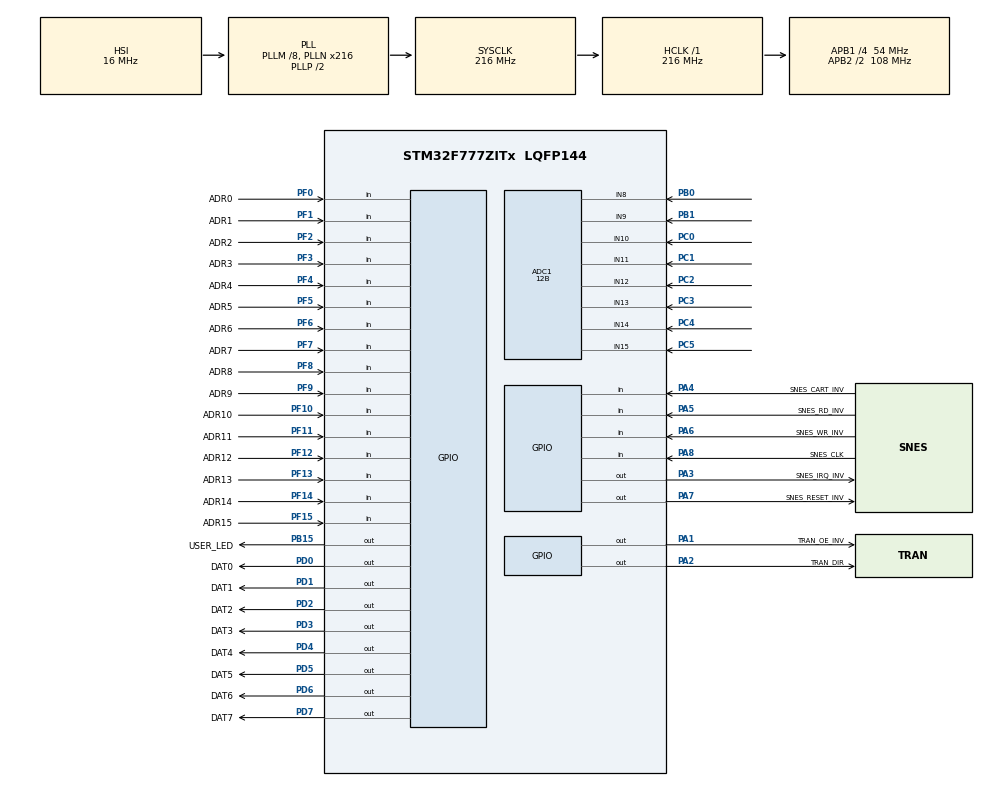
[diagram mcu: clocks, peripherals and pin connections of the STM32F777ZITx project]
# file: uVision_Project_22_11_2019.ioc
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ADC1.Channel-0\#ChannelRegularConversion=ADC_CHANNEL_8
ADC1.Channel-1\#ChannelRegularConversion=ADC_CHANNEL_9
ADC1.Channel-2\#ChannelRegularConversion=ADC_CHANNEL_10
ADC1.Channel-3\#ChannelRegularConversion=ADC_CHANNEL_11
ADC1.Channel-4\#ChannelRegularConversion=ADC_CHANNEL_12
ADC1.Channel-5\#ChannelRegularConversion=ADC_CHANNEL_13
ADC1.Channel-6\#ChannelRegularConversion=ADC_CHANNEL_14
ADC1.Channel-7\#ChannelRegularConversion=ADC_CHANNEL_15
ADC1.ClockPrescaler=ADC_CLOCK_SYNC_PCLK_DIV4
ADC1.ContinuousConvMode=ENABLE
ADC1.DMAContinuousRequests=ENABLE
ADC1.DataAlign=ADC_DATAALIGN_RIGHT
ADC1.DiscontinuousConvMode=DISABLE
ADC1.EOCSelection=ADC_EOC_SINGLE_CONV
ADC1.EnableAnalogWatchDog=false
ADC1.ExternalTrigConv=ADC_SOFTWARE_START
ADC1.ExternalTrigConvEdge=ADC_EXTERNALTRIGCONVEDGE_NONE
ADC1.InjNumberOfConversion=0
ADC1.NbrOfConversion=8
ADC1.NbrOfConversionFlag=1
ADC1.Rank-0\#ChannelRegularConversion=1
ADC1.Rank-1\#ChannelRegularConversion=2
ADC1.Rank-2\#ChannelRegularConversion=3
ADC1.Rank-3\#ChannelRegularConversion=4
ADC1.Rank-4\#ChannelRegularConversion=5
ADC1.Rank-5\#ChannelRegularConversion=6
ADC1.Rank-6\#ChannelRegularConversion=7
ADC1.Rank-7\#ChannelRegularConversion=8
ADC1.Resolution=ADC_RESOLUTION_12B
ADC1.SamplingTime-0\#ChannelRegularConversion=ADC_SAMPLETIME_3CYCLES
ADC1.SamplingTime-1\#ChannelRegularConversion=ADC_SAMPLETIME_3CYCLES
ADC1.SamplingTime-2\#ChannelRegularConversion=ADC_SAMPLETIME_3CYCLES
ADC1.SamplingTime-3\#ChannelRegularConversion=ADC_SAMPLETIME_3CYCLES
ADC1.SamplingTime-4\#ChannelRegularConversion=ADC_SAMPLETIME_3CYCLES
ADC1.SamplingTime-5\#ChannelRegularConversion=ADC_SAMPLETIME_3CYCLES
ADC1.SamplingTime-6\#ChannelRegularConversion=ADC_SAMPLETIME_3CYCLES
ADC1.SamplingTime-7\#ChannelRegularConversion=ADC_SAMPLETIME_3CYCLES
ADC1.ScanConvMode=ADC_SCAN_ENABLE
ADC1.master=1
CORTEX_M7.CPU_DCache=Enabled
CORTEX_M7.CPU_ICache=Enabled
CORTEX_M7.FlashInterface=TCM_Enabled
Dma.ADC1.0.Direction=DMA_PERIPH_TO_MEMORY
Dma.ADC1.0.FIFOMode=DMA_FIFOMODE_DISABLE
Dma.ADC1.0.Instance=DMA2_Stream0
Dma.ADC1.0.MemDataAlignment=DMA_MDATAALIGN_WORD
Dma.ADC1.0.MemInc=DMA_MINC_ENABLE
Dma.ADC1.0.Mode=DMA_CIRCULAR
Dma.ADC1.0.PeriphDataAlignment=DMA_PDATAALIGN_WORD
Dma.ADC1.0.PeriphInc=DMA_PINC_DISABLE
Dma.ADC1.0.Priority=DMA_PRIORITY_LOW
Dma.Request0=ADC1
Mcu.Family=STM32F7
Mcu.Name=STM32F777ZITx
Mcu.Package=LQFP144
NVIC.DMA2_Stream0_IRQn=true\:0\:0\:false\:false\:true\:false
NVIC.PriorityGroup=NVIC_PRIORITYGROUP_4
PA1.GPIO_Label=TRAN_OE_INV
PA1.GPIO_Speed=GPIO_SPEED_FREQ_VERY_HIGH
PA1.PinState=GPIO_PIN_SET
PA1.Signal=GPIO_Output
PA13.Mode=Serial_Wire
PA13.Signal=SYS_JTMS-SWDIO
PA14.Mode=Serial_Wire
PA14.Signal=SYS_JTCK-SWCLK
PA2.GPIO_Label=TRAN_DIR
PA2.GPIO_Speed=GPIO_SPEED_FREQ_VERY_HIGH
PA2.PinState=GPIO_PIN_SET
PA2.Signal=GPIO_Output
PA3.GPIO_Label=SNES_IRQ_INV
PA3.GPIO_Speed=GPIO_SPEED_FREQ_VERY_HIGH
PA3.PinState=GPIO_PIN_SET
PA3.Signal=GPIO_Output
PA4.GPIO_Label=SNES_CART_INV
PA4.Signal=GPIO_Input
PA5.GPIO_Label=SNES_RD_INV
PA5.Signal=GPIO_Input
PA6.GPIO_Label=SNES_WR_INV
PA6.Signal=GPIO_Input
PA7.GPIO_Label=SNES_RESET_INV
PA7.GPIO_ModeDefaultOutputPP=GPIO_MODE_OUTPUT_PP
PA7.GPIO_PuPd=GPIO_PULLDOWN
PA7.GPIO_Speed=GPIO_SPEED_FREQ_VERY_HIGH
PA7.PinState=GPIO_PIN_SET
PA7.Signal=GPIO_Output
PA8.GPIO_Label=SNES_CLK
PA8.Signal=GPIO_Input
PB0.Signal=ADCx_IN8
PB1.Signal=ADCx_IN9
PB15.GPIO_Label=USER_LED
PB15.GPIO_Speed=GPIO_SPEED_FREQ_VERY_HIGH
PB15.PinState=GPIO_PIN_SET
PB15.Signal=GPIO_Output
PC0.Signal=ADCx_IN10
PC1.Signal=ADCx_IN11
PC2.Signal=ADCx_IN12
PC3.Signal=ADCx_IN13
PC4.Signal=ADCx_IN14
PC5.Signal=ADCx_IN15
PD0.GPIO_Label=DAT0
PD0.GPIO_PuPd=GPIO_PULLUP
PD0.GPIO_Speed=GPIO_SPEED_FREQ_VERY_HIGH
PD0.PinState=GPIO_PIN_SET
PD0.Signal=GPIO_Output
PD1.GPIO_Label=DAT1
PD1.GPIO_PuPd=GPIO_PULLUP
PD1.GPIO_Speed=GPIO_SPEED_FREQ_VERY_HIGH
PD1.PinState=GPIO_PIN_SET
PD1.Signal=GPIO_Output
PD2.GPIO_Label=DAT2
PD2.GPIO_PuPd=GPIO_PULLUP
PD2.GPIO_Speed=GPIO_SPEED_FREQ_VERY_HIGH
PD2.PinState=GPIO_PIN_SET
PD2.Signal=GPIO_Output
PD3.GPIO_Label=DAT3
PD3.GPIO_PuPd=GPIO_PULLUP
PD3.GPIO_Speed=GPIO_SPEED_FREQ_VERY_HIGH
PD3.PinState=GPIO_PIN_SET
PD3.Signal=GPIO_Output
PD4.GPIO_Label=DAT4
PD4.GPIO_PuPd=GPIO_PULLUP
PD4.GPIO_Speed=GPIO_SPEED_FREQ_VERY_HIGH
PD4.PinState=GPIO_PIN_SET
PD4.Signal=GPIO_Output
PD5.GPIO_Label=DAT5
PD5.GPIO_PuPd=GPIO_PULLUP
PD5.GPIO_Speed=GPIO_SPEED_FREQ_VERY_HIGH
PD5.PinState=GPIO_PIN_SET
PD5.Signal=GPIO_Output
PD6.GPIO_Label=DAT6
PD6.GPIO_PuPd=GPIO_PULLUP
PD6.GPIO_Speed=GPIO_SPEED_FREQ_VERY_HIGH
PD6.PinState=GPIO_PIN_SET
PD6.Signal=GPIO_Output
PD7.GPIO_Label=DAT7
PD7.GPIO_PuPd=GPIO_PULLUP
PD7.GPIO_Speed=GPIO_SPEED_FREQ_VERY_HIGH
PD7.PinState=GPIO_PIN_SET
PD7.Signal=GPIO_Output
PF0.GPIO_Label=ADR0
PF0.Signal=GPIO_Input
PF1.GPIO_Label=ADR1
PF1.Signal=GPIO_Input
PF10.GPIO_Label=ADR10
PF10.Signal=GPIO_Input
PF11.GPIO_Label=ADR11
PF11.Signal=GPIO_Input
PF12.GPIO_Label=ADR12
PF12.Signal=GPIO_Input
PF13.GPIO_Label=ADR13
PF13.Signal=GPIO_Input
PF14.GPIO_Label=ADR14
PF14.Signal=GPIO_Input
PF15.GPIO_Label=ADR15
PF15.Signal=GPIO_Input
PF2.GPIO_Label=ADR2
PF2.Signal=GPIO_Input
PF3.GPIO_Label=ADR3
PF3.Signal=GPIO_Input
PF4.GPIO_Label=ADR4
PF4.Signal=GPIO_Input
PF5.GPIO_Label=ADR5
PF5.Signal=GPIO_Input
PF6.GPIO_Label=ADR6
PF6.Signal=GPIO_Input
PF7.GPIO_Label=ADR7
PF7.Signal=GPIO_Input
PF8.GPIO_Label=ADR8
PF8.Signal=GPIO_Input
PF9.GPIO_Label=ADR9
PF9.Signal=GPIO_Input
ProjectManager.HeapSize=0x200
ProjectManager.StackSize=0x400
ProjectManager.TargetToolchain=MDK-ARM V5
RCC.AHBFreq_Value=216000000
RCC.APB1CLKDivider=RCC_HCLK_DIV4
RCC.APB1Freq_Value=54000000
RCC.APB1TimFreq_Value=108000000
RCC.APB2CLKDivider=RCC_HCLK_DIV2
RCC.APB2Freq_Value=108000000
RCC.APB2TimFreq_Value=216000000
RCC.CortexFreq_Value=216000000
RCC.HCLKFreq_Value=216000000
RCC.HSE_VALUE=25000000
RCC.HSI_VALUE=16000000
RCC.LSE_VALUE=32768
RCC.PLLM=8
RCC.PLLN=216
RCC.SYSCLKFreq_VALUE=216000000
RCC.SYSCLKSource=RCC_SYSCLKSOURCE_PLLCLK
RCC.USBFreq_Value=216000000
RCC.VCOOutputFreq_Value=432000000
SH.ADCx_IN10.0=ADC1_IN10,IN10
SH.ADCx_IN11.0=ADC1_IN11,IN11
SH.ADCx_IN12.0=ADC1_IN12,IN12
SH.ADCx_IN13.0=ADC1_IN13,IN13
SH.ADCx_IN14.0=ADC1_IN14,IN14
SH.ADCx_IN15.0=ADC1_IN15,IN15
SH.ADCx_IN8.0=ADC1_IN8,IN8
SH.ADCx_IN9.0=ADC1_IN9,IN9
board=custom

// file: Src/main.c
/**
  ******************************************************************************
  * @file           : main.c
  * @brief          : Main program body
  ******************************************************************************
  ** This notice applies to any and all portions of this file
  * that are not between comment pairs USER CODE BEGIN and
  * USER CODE END. Other portions of this file, whether
  * inserted by the user or by software development tools
  * are owned by their respective copyright owners.
  *
  * COPYRIGHT(c) 2019 STMicroelectronics
  *
  * Redistribution and use in source and binary forms, with or without modification,
  * are permitted provided that the following conditions are met:
  *   1. Redistributions of source code must retain the above copyright notice,
  *      this list of conditions and the following disclaimer.
  *   2. Redistributions in binary form must reproduce the above copyright notice,
  *      this list of conditions and the following disclaimer in the documentation
  *      and/or other materials provided with the distribution.
  *   3. Neither the name of STMicroelectronics nor the names of its contributors
  *      may be used to endorse or promote products derived from this software
  *      without specific prior written permission.
  *
  * THIS SOFTWARE IS PROVIDED BY THE COPYRIGHT HOLDERS AND CONTRIBUTORS "AS IS"
  * AND ANY EXPRESS OR IMPLIED WARRANTIES, INCLUDING, BUT NOT LIMITED TO, THE
  * IMPLIED WARRANTIES OF MERCHANTABILITY AND FITNESS FOR A PARTICULAR PURPOSE ARE
  * DISCLAIMED. IN NO EVENT SHALL THE COPYRIGHT HOLDER OR CONTRIBUTORS BE LIABLE
  * FOR ANY DIRECT, INDIRECT, INCIDENTAL, SPECIAL, EXEMPLARY, OR CONSEQUENTIAL
  * DAMAGES (INCLUDING, BUT NOT LIMITED TO, PROCUREMENT OF SUBSTITUTE GOODS OR
  * SERVICES; LOSS OF USE, DATA, OR PROFITS; OR BUSINESS INTERRUPTION) HOWEVER
  * CAUSED AND ON ANY THEORY OF LIABILITY, WHETHER IN CONTRACT, STRICT LIABILITY,
  * OR TORT (INCLUDING NEGLIGENCE OR OTHERWISE) ARISING IN ANY WAY OUT OF THE USE
  * OF THIS SOFTWARE, EVEN IF ADVISED OF THE POSSIBILITY OF SUCH DAMAGE.
  *
  ******************************************************************************
  */
#include "main.h"
#include "stm32f7xx_hal.h"
#include "rom_bank_0.h"

/* USER CODE BEGIN Includes */

#define SNES_IRQ_OFF 0xFFFF0008U
#define MISC_PORT_REG_WR GPIOA->BSRR
#define TRANS_SNES_2_CART 0xFFFF000CU
#define SNES_CART_OFF 0xFFFF0010U

#define MISC_PORT_REG_WR GPIOA->BSRR
#define MISC_PORT_REG_RD GPIOA->IDR
#define ADDR_PORT_REG_RD GPIOF->IDR
#define DATA_PORT_REG_WR GPIOD->BSRR

#define RST_VEC_LOC_LO 0x0000FFFCU
#define RST_VEC_LOC_HI 0x0000FFFDU
#define RST_VEC_BYT_LO 0xFFFF0000U
#define RST_VEC_BYT_HI 0xFFFF0088U
#define NMI_VEC_LOC_LO 0x0000FFEAU
#define NMI_VEC_LOC_HI 0x0000FFEBU
#define NMI_VEC_BYT_LO 0xFFFF0000U
#define NMI_VEC_BYT_HI 0xFFFF001EU

/* USER CODE END Includes */

ADC_HandleTypeDef hadc1;
DMA_HandleTypeDef hdma_adc1;

/* USER CODE BEGIN PV */
/* Private variables ---------------------------------------------------------*/

/* USER CODE END PV */

void SystemClock_Config(void);
static void MX_GPIO_Init(void);
static void MX_DMA_Init(void);
static void MX_ADC1_Init(void);

/* USER CODE BEGIN PFP */
/* Private function prototypes -----------------------------------------------*/
uint16_t temp = 0;
//uint16_t adc_temp = 0;
volatile uint32_t adc_32[8];
volatile uint32_t adc_32_buf[8];

#define SMOOTHVALS 16
#define SMOOTHSHIFTS 4
volatile uint8_t iSmoothingPointer = 0;
volatile uint8_t iSmoothingNextPointer = 1;
volatile uint32_t iSmoothingSum[8];
volatile uint32_t iSmoothingSumLastAdd[SMOOTHVALS][8];

/* USER CODE END PFP */

/* USER CODE BEGIN 0 */
void HAL_ADC_ConvCpltCallback(ADC_HandleTypeDef* hadc)
{
	if(hadc->Instance == ADC1)
	{
		adc_32_buf[0] = (~adc_32[0]) & 0x03FFU;
		iSmoothingSumLastAdd[iSmoothingPointer][0] = adc_32_buf[0];
		iSmoothingSum[0] = iSmoothingSum[0] - iSmoothingSumLastAdd[iSmoothingNextPointer][0];
		iSmoothingSum[0] = iSmoothingSum[0] + iSmoothingSumLastAdd[iSmoothingPointer][0];
		adc_32_buf[0] = iSmoothingSum[0] >> SMOOTHSHIFTS;

		adc_32_buf[1] = (~adc_32[1]) & 0x03FFU;
		iSmoothingSumLastAdd[iSmoothingPointer][1] = adc_32_buf[1];
		iSmoothingSum[1] = iSmoothingSum[1] - iSmoothingSumLastAdd[iSmoothingNextPointer][1];
		iSmoothingSum[1] = iSmoothingSum[1] + iSmoothingSumLastAdd[iSmoothingPointer][1];
		adc_32_buf[1] = iSmoothingSum[1] >> SMOOTHSHIFTS;

		adc_32_buf[2] = (~adc_32[2]) & 0x03FFU;
		iSmoothingSumLastAdd[iSmoothingPointer][2] = adc_32_buf[2];
		iSmoothingSum[2] = iSmoothingSum[2] - iSmoothingSumLastAdd[iSmoothingNextPointer][2];
		iSmoothingSum[2] = iSmoothingSum[2] + iSmoothingSumLastAdd[iSmoothingPointer][2];
		adc_32_buf[2] = iSmoothingSum[2] >> SMOOTHSHIFTS;

		adc_32_buf[3] = (~adc_32[3]) & 0x03FFU;
		iSmoothingSumLastAdd[iSmoothingPointer][3] = adc_32_buf[3];
		iSmoothingSum[3] = iSmoothingSum[3] - iSmoothingSumLastAdd[iSmoothingNextPointer][3];
		iSmoothingSum[3] = iSmoothingSum[3] + iSmoothingSumLastAdd[iSmoothingPointer][3];
		adc_32_buf[3] = iSmoothingSum[3] >> SMOOTHSHIFTS;

		adc_32_buf[4] = (~adc_32[4]) & 0x03FFU;
		iSmoothingSumLastAdd[iSmoothingPointer][4] = adc_32_buf[4];
		iSmoothingSum[4] = iSmoothingSum[4] - iSmoothingSumLastAdd[iSmoothingNextPointer][4];
		iSmoothingSum[4] = iSmoothingSum[4] + iSmoothingSumLastAdd[iSmoothingPointer][4];
		adc_32_buf[4] = iSmoothingSum[4] >> SMOOTHSHIFTS;

		adc_32_buf[5] = (~adc_32[5]) & 0x03FFU;
		iSmoothingSumLastAdd[iSmoothingPointer][5] = adc_32_buf[5];
		iSmoothingSum[5] = iSmoothingSum[5] - iSmoothingSumLastAdd[iSmoothingNextPointer][5];
		iSmoothingSum[5] = iSmoothingSum[5] + iSmoothingSumLastAdd[iSmoothingPointer][5];
		adc_32_buf[5] = iSmoothingSum[5] >> SMOOTHSHIFTS;

		adc_32_buf[6] = (~adc_32[6]) & 0x03FFU;
		iSmoothingSumLastAdd[iSmoothingPointer][6] = adc_32_buf[6];
		iSmoothingSum[6] = iSmoothingSum[6] - iSmoothingSumLastAdd[iSmoothingNextPointer][6];
		iSmoothingSum[6] = iSmoothingSum[6] + iSmoothingSumLastAdd[iSmoothingPointer][6];
		adc_32_buf[6] = iSmoothingSum[6] >> SMOOTHSHIFTS;

		adc_32_buf[7] = (~adc_32[7]) & 0x03FFU;
		iSmoothingSumLastAdd[iSmoothingPointer][7] = adc_32_buf[7];
		iSmoothingSum[7] = iSmoothingSum[7] - iSmoothingSumLastAdd[iSmoothingNextPointer][7];
		iSmoothingSum[7] = iSmoothingSum[7] + iSmoothingSumLastAdd[iSmoothingPointer][7];
		adc_32_buf[7] = iSmoothingSum[7] >> SMOOTHSHIFTS;

		iSmoothingPointer++;
		if(iSmoothingPointer >= SMOOTHVALS)
		{
			iSmoothingPointer = 0;
		}

		iSmoothingNextPointer++;
		if(iSmoothingNextPointer >= SMOOTHVALS)
		{
			iSmoothingNextPointer = 0;
		}
	}
}

/* USER CODE END 0 */

int main(void)
{
  /* USER CODE BEGIN 1 */
	__disable_irq();
	int i = 0;

  /* USER CODE END 1 */

  /* Enable I-Cache-------------------------------------------------------------*/
  SCB_EnableICache();

  /* Enable D-Cache-------------------------------------------------------------*/
  SCB_EnableDCache();

  /* MCU Configuration----------------------------------------------------------*/

  /* Reset of all peripherals, Initializes the Flash interface and the Systick. */
  HAL_Init();

  /* Configure the system clock */
  SystemClock_Config();

  /* USER CODE BEGIN SysInit */
	for(i = 0; i < 8; i++)
	{
		while(iSmoothingPointer < SMOOTHVALS)
		{
			iSmoothingSumLastAdd[iSmoothingPointer][i] = 0;
			iSmoothingPointer++;
		}
		iSmoothingPointer = 0;
	}
	iSmoothingPointer = 0;

  /* USER CODE END SysInit */

  /* Initialize all configured peripherals */
  MX_GPIO_Init();
  MX_DMA_Init();
  MX_ADC1_Init();
  /* USER CODE BEGIN 2 */

	HAL_ADC_Start_DMA(&hadc1,adc_32,8);

	IWDG->KR = ((uint16_t)0xAAAA);  // Disable WDG
	GPIOA->BSRR = 0xFFFF0008U;      // Hold SNES with RESET LOW; Disable Interrupt Request Line; Transceiver CART to SNES
	GPIOD->BSRR = 0xFFFF0000U;      // Reset Data Lines
	//__enable_irq();

	// Release the SNES
	/*Configure Reset Pin to Floating Input */
	GPIO_InitTypeDef GPIO_InitStruct;
  GPIO_InitStruct.Pin = SNES_RESET_INV_Pin;
  GPIO_InitStruct.Mode = GPIO_MODE_INPUT;
  GPIO_InitStruct.Pull = GPIO_NOPULL;
  HAL_GPIO_Init(GPIOA, &GPIO_InitStruct);

	while(GPIOF->IDR != RST_VEC_LOC_LO){}
  DATA_PORT_REG_WR = RST_VEC_BYT_LO;
  while(GPIOF->IDR != RST_VEC_LOC_HI){}
  DATA_PORT_REG_WR = RST_VEC_BYT_HI;

  /* USER CODE END 2 */

  /* Infinite loop */
    while (1)
  {

  /* USER CODE BEGIN 3 */

		if((MISC_PORT_REG_RD & SNES_CART_OFF))
    {
      MISC_PORT_REG_WR = TRANS_SNES_2_CART; // TRANSCEIVER SNES TO CART
      while(MISC_PORT_REG_RD & SNES_CART_OFF){}
      MISC_PORT_REG_WR = SNES_IRQ_OFF; // TRANSCEIVER CART TO SNES
    }
		else
		{
		  //MISC_PORT_REG_WR = SNES_IRQ_OFF; // TRANSCEIVER CART TO SNES
			temp = (ADDR_PORT_REG_RD & 0x00007FFFU);

			if(temp < 0x4FFFU)
			{
				DATA_PORT_REG_WR = (0xFFFF0000 | rom_bank_0[temp]);
			}
			else
			{
				if(temp == 0x7FEAU)
					DATA_PORT_REG_WR = (0xFFFF0000 | rom_bank_0[0x4FEAU]);

				if(temp == 0x7FEBU)
				{
					DATA_PORT_REG_WR = (0xFFFF0000 | rom_bank_0[0x4FEBU]);
					while(!(MISC_PORT_REG_RD & SNES_CART_OFF)){}
					MISC_PORT_REG_WR = TRANS_SNES_2_CART; // TRANSCEIVER SNES TO CART

					__enable_irq();

						/* Pitch 1: 0x4405 0x4404 */
					rom_bank_0[17413] = (uint8_t)(adc_32_buf[4] >> 8);
					rom_bank_0[17412] = (uint8_t)(adc_32_buf[4] & 0xFF);

					/* Pitch 2: 0x4410 0x440F */
					rom_bank_0[17424] = (uint8_t)(adc_32_buf[3] >> 8);
					rom_bank_0[17423] = (uint8_t)(adc_32_buf[3] & 0xFF);

					/* Pitch 3: 0x441B 0x441A */
					rom_bank_0[17435] = (uint8_t)(adc_32_buf[2] >> 8);
					rom_bank_0[17434] = (uint8_t)(adc_32_buf[2] & 0xFF);

					/* Pitch 4: 0x4426 0x4425 */
					rom_bank_0[17446] = (uint8_t)(adc_32_buf[1] >> 8);
					rom_bank_0[17445] = (uint8_t)(adc_32_buf[1] & 0xFF);

					/* Volume 1: 0x4402 (0x4403) */
					rom_bank_0[0x4402] = (uint8_t)(adc_32_buf[5] >> 3) | 0x0FU;
					rom_bank_0[0x4403] = (uint8_t)(adc_32_buf[5] >> 3) | 0x0FU;

					/* Volume 2: 0x440D (0x440E) */
					rom_bank_0[0x440D] = (uint8_t)(adc_32_buf[6] >> 3) | 0x0FU;
					rom_bank_0[0x440E] = (uint8_t)(adc_32_buf[6] >> 3) | 0x0FU;

					/* Volume 3: 0x4418 (0x4419) */
					rom_bank_0[0x4418] = (uint8_t)(adc_32_buf[0] >> 3) | 0x0FU;
					rom_bank_0[0x4419] = (uint8_t)(adc_32_buf[0] >> 3) | 0x0FU;

					/* Volume 4: 0x4423 (0x4424) */
					rom_bank_0[0x4423] = (uint8_t)(adc_32_buf[7] >> 3) | 0x0FU;
					rom_bank_0[0x4424] = (uint8_t)(adc_32_buf[7] >> 3) | 0x0FU;

					__disable_irq();

					while(MISC_PORT_REG_RD & SNES_CART_OFF){}
					MISC_PORT_REG_WR = SNES_IRQ_OFF; // TRANSCEIVER CART TO SNES

				}
			}
		}
  }
  /* USER CODE END 3 */

}

void SystemClock_Config(void)
{

  RCC_OscInitTypeDef RCC_OscInitStruct;
  RCC_ClkInitTypeDef RCC_ClkInitStruct;

    /**Configure the main internal regulator output voltage
    */
  __HAL_RCC_PWR_CLK_ENABLE();

  __HAL_PWR_VOLTAGESCALING_CONFIG(PWR_REGULATOR_VOLTAGE_SCALE1);

    /**Initializes the CPU, AHB and APB busses clocks
    */
  RCC_OscInitStruct.OscillatorType = RCC_OSCILLATORTYPE_HSI;
  RCC_OscInitStruct.HSIState = RCC_HSI_ON;
  RCC_OscInitStruct.HSICalibrationValue = 16;
  RCC_OscInitStruct.PLL.PLLState = RCC_PLL_ON;
  RCC_OscInitStruct.PLL.PLLSource = RCC_PLLSOURCE_HSI;
  RCC_OscInitStruct.PLL.PLLM = 8;
  RCC_OscInitStruct.PLL.PLLN = 216;
  RCC_OscInitStruct.PLL.PLLP = RCC_PLLP_DIV2;
  RCC_OscInitStruct.PLL.PLLQ = 2;
  if (HAL_RCC_OscConfig(&RCC_OscInitStruct) != HAL_OK)
  {
    _Error_Handler(__FILE__, __LINE__);
  }

    /**Activate the Over-Drive mode
    */
  if (HAL_PWREx_EnableOverDrive() != HAL_OK)
  {
    _Error_Handler(__FILE__, __LINE__);
  }

    /**Initializes the CPU, AHB and APB busses clocks
    */
  RCC_ClkInitStruct.ClockType = RCC_CLOCKTYPE_HCLK|RCC_CLOCKTYPE_SYSCLK
                              |RCC_CLOCKTYPE_PCLK1|RCC_CLOCKTYPE_PCLK2;
  RCC_ClkInitStruct.SYSCLKSource = RCC_SYSCLKSOURCE_PLLCLK;
  RCC_ClkInitStruct.AHBCLKDivider = RCC_SYSCLK_DIV1;
  RCC_ClkInitStruct.APB1CLKDivider = RCC_HCLK_DIV4;
  RCC_ClkInitStruct.APB2CLKDivider = RCC_HCLK_DIV2;

  if (HAL_RCC_ClockConfig(&RCC_ClkInitStruct, FLASH_LATENCY_7) != HAL_OK)
  {
    _Error_Handler(__FILE__, __LINE__);
  }

    /**Configure the Systick interrupt time
    */
  HAL_SYSTICK_Config(HAL_RCC_GetHCLKFreq()/1000);

    /**Configure the Systick
    */
  HAL_SYSTICK_CLKSourceConfig(SYSTICK_CLKSOURCE_HCLK);

  /* SysTick_IRQn interrupt configuration */
  HAL_NVIC_SetPriority(SysTick_IRQn, 1, 0);
}

/* ADC1 init function */
static void MX_ADC1_Init(void)
{

  ADC_ChannelConfTypeDef sConfig;

    /**Configure the global features of the ADC (Clock, Resolution, Data Alignment and number of conversion)
    */
  hadc1.Instance = ADC1;
  hadc1.Init.ClockPrescaler = ADC_CLOCK_SYNC_PCLK_DIV4;
  hadc1.Init.Resolution = ADC_RESOLUTION_10B;
  hadc1.Init.ScanConvMode = ADC_SCAN_ENABLE;
  hadc1.Init.ContinuousConvMode = ENABLE;
  hadc1.Init.DiscontinuousConvMode = DISABLE;
  hadc1.Init.ExternalTrigConvEdge = ADC_EXTERNALTRIGCONVEDGE_NONE;
  hadc1.Init.ExternalTrigConv = ADC_SOFTWARE_START;
  hadc1.Init.DataAlign = ADC_DATAALIGN_RIGHT;
  hadc1.Init.NbrOfConversion = 8;
  hadc1.Init.DMAContinuousRequests = ENABLE;
  hadc1.Init.EOCSelection = ADC_EOC_SEQ_CONV;
  if (HAL_ADC_Init(&hadc1) != HAL_OK)
  {
    _Error_Handler(__FILE__, __LINE__);
  }

    /**Configure for the selected ADC regular channel its corresponding rank in the sequencer and its sample time.
    */
  sConfig.Channel = ADC_CHANNEL_8;
  sConfig.Rank = ADC_REGULAR_RANK_1;
  sConfig.SamplingTime = ADC_SAMPLETIME_480CYCLES;
  if (HAL_ADC_ConfigChannel(&hadc1, &sConfig) != HAL_OK)
  {
    _Error_Handler(__FILE__, __LINE__);
  }

    /**Configure for the selected ADC regular channel its corresponding rank in the sequencer and its sample time.
    */
  sConfig.Channel = ADC_CHANNEL_9;
  sConfig.Rank = ADC_REGULAR_RANK_2;
  if (HAL_ADC_ConfigChannel(&hadc1, &sConfig) != HAL_OK)
  {
    _Error_Handler(__FILE__, __LINE__);
  }

    /**Configure for the selected ADC regular channel its corresponding rank in the sequencer and its sample time.
    */
  sConfig.Channel = ADC_CHANNEL_10;
  sConfig.Rank = ADC_REGULAR_RANK_3;
  if (HAL_ADC_ConfigChannel(&hadc1, &sConfig) != HAL_OK)
  {
    _Error_Handler(__FILE__, __LINE__);
  }

    /**Configure for the selected ADC regular channel its corresponding rank in the sequencer and its sample time.
    */
  sConfig.Channel = ADC_CHANNEL_11;
  sConfig.Rank = ADC_REGULAR_RANK_4;
  if (HAL_ADC_ConfigChannel(&hadc1, &sConfig) != HAL_OK)
  {
    _Error_Handler(__FILE__, __LINE__);
  }

    /**Configure for the selected ADC regular channel its corresponding rank in the sequencer and its sample time.
    */
  sConfig.Channel = ADC_CHANNEL_12;
  sConfig.Rank = ADC_REGULAR_RANK_5;
  if (HAL_ADC_ConfigChannel(&hadc1, &sConfig) != HAL_OK)
  {
    _Error_Handler(__FILE__, __LINE__);
  }

    /**Configure for the selected ADC regular channel its corresponding rank in the sequencer and its sample time.
    */
  sConfig.Channel = ADC_CHANNEL_13;
  sConfig.Rank = ADC_REGULAR_RANK_6;
  if (HAL_ADC_ConfigChannel(&hadc1, &sConfig) != HAL_OK)
  {
    _Error_Handler(__FILE__, __LINE__);
  }

    /**Configure for the selected ADC regular channel its corresponding rank in the sequencer and its sample time.
    */
  sConfig.Channel = ADC_CHANNEL_14;
  sConfig.Rank = ADC_REGULAR_RANK_7;
  if (HAL_ADC_ConfigChannel(&hadc1, &sConfig) != HAL_OK)
  {
    _Error_Handler(__FILE__, __LINE__);
  }

    /**Configure for the selected ADC regular channel its corresponding rank in the sequencer and its sample time.
    */
  sConfig.Channel = ADC_CHANNEL_15;
  sConfig.Rank = ADC_REGULAR_RANK_8;
  if (HAL_ADC_ConfigChannel(&hadc1, &sConfig) != HAL_OK)
  {
    _Error_Handler(__FILE__, __LINE__);
  }

}

static void MX_DMA_Init(void)
{
  /* DMA controller clock enable */
  __HAL_RCC_DMA2_CLK_ENABLE();

  /* DMA interrupt init */
  /* DMA2_Stream0_IRQn interrupt configuration */
  HAL_NVIC_SetPriority(DMA2_Stream0_IRQn, 0, 0);
  HAL_NVIC_EnableIRQ(DMA2_Stream0_IRQn);

}

/** Configure pins as
        * Analog
        * Input
        * Output
        * EVENT_OUT
        * EXTI
*/
static void MX_GPIO_Init(void)
{

  GPIO_InitTypeDef GPIO_InitStruct;

  /* GPIO Ports Clock Enable */
  __HAL_RCC_GPIOF_CLK_ENABLE();
  __HAL_RCC_GPIOC_CLK_ENABLE();
  __HAL_RCC_GPIOA_CLK_ENABLE();
  __HAL_RCC_GPIOB_CLK_ENABLE();
  __HAL_RCC_GPIOD_CLK_ENABLE();

  /*Configure GPIO pin Output Level */
  HAL_GPIO_WritePin(GPIOA, TRAN_OE_INV_Pin|TRAN_DIR_Pin|SNES_IRQ_INV_Pin|SNES_RESET_INV_Pin, GPIO_PIN_SET);

  /*Configure GPIO pin Output Level */
  HAL_GPIO_WritePin(USER_LED_GPIO_Port, USER_LED_Pin, GPIO_PIN_SET);

  /*Configure GPIO pin Output Level */
  HAL_GPIO_WritePin(GPIOD, DAT0_Pin|DAT1_Pin|DAT2_Pin|DAT3_Pin
                          |DAT4_Pin|DAT5_Pin|DAT6_Pin|DAT7_Pin, GPIO_PIN_SET);

  /*Configure GPIO pins : ADR0_Pin ADR1_Pin ADR2_Pin ADR3_Pin
                           ADR4_Pin ADR5_Pin ADR6_Pin ADR7_Pin
                           ADR8_Pin ADR9_Pin ADR10_Pin ADR11_Pin
                           ADR12_Pin ADR13_Pin ADR14_Pin ADR15_Pin */
  GPIO_InitStruct.Pin = ADR0_Pin|ADR1_Pin|ADR2_Pin|ADR3_Pin
                          |ADR4_Pin|ADR5_Pin|ADR6_Pin|ADR7_Pin
                          |ADR8_Pin|ADR9_Pin|ADR10_Pin|ADR11_Pin
                          |ADR12_Pin|ADR13_Pin|ADR14_Pin|ADR15_Pin;
  GPIO_InitStruct.Mode = GPIO_MODE_INPUT;
  GPIO_InitStruct.Pull = GPIO_NOPULL;
  HAL_GPIO_Init(GPIOF, &GPIO_InitStruct);

  /*Configure GPIO pins : TRAN_OE_INV_Pin TRAN_DIR_Pin SNES_IRQ_INV_Pin */
  GPIO_InitStruct.Pin = TRAN_OE_INV_Pin|TRAN_DIR_Pin|SNES_IRQ_INV_Pin;
  GPIO_InitStruct.Mode = GPIO_MODE_OUTPUT_PP;
  GPIO_InitStruct.Pull = GPIO_NOPULL;
  GPIO_InitStruct.Speed = GPIO_SPEED_FREQ_VERY_HIGH;
  HAL_GPIO_Init(GPIOA, &GPIO_InitStruct);

  /*Configure GPIO pins : SNES_CART_INV_Pin SNES_RD_INV_Pin SNES_WR_INV_Pin SNES_CLK_Pin */
  GPIO_InitStruct.Pin = SNES_CART_INV_Pin|SNES_RD_INV_Pin|SNES_WR_INV_Pin|SNES_CLK_Pin;
  GPIO_InitStruct.Mode = GPIO_MODE_INPUT;
  GPIO_InitStruct.Pull = GPIO_NOPULL;
  HAL_GPIO_Init(GPIOA, &GPIO_InitStruct);

  /*Configure GPIO pin : SNES_RESET_INV_Pin */
  GPIO_InitStruct.Pin = SNES_RESET_INV_Pin;
  GPIO_InitStruct.Mode = GPIO_MODE_OUTPUT_PP;
  GPIO_InitStruct.Pull = GPIO_PULLDOWN;
  GPIO_InitStruct.Speed = GPIO_SPEED_FREQ_VERY_HIGH;
  HAL_GPIO_Init(SNES_RESET_INV_GPIO_Port, &GPIO_InitStruct);

  /*Configure GPIO pin : USER_LED_Pin */
  GPIO_InitStruct.Pin = USER_LED_Pin;
  GPIO_InitStruct.Mode = GPIO_MODE_OUTPUT_PP;
  GPIO_InitStruct.Pull = GPIO_NOPULL;
  GPIO_InitStruct.Speed = GPIO_SPEED_FREQ_VERY_HIGH;
  HAL_GPIO_Init(USER_LED_GPIO_Port, &GPIO_InitStruct);

  /*Configure GPIO pins : DAT0_Pin DAT1_Pin DAT2_Pin DAT3_Pin
                           DAT4_Pin DAT5_Pin DAT6_Pin DAT7_Pin */
  GPIO_InitStruct.Pin = DAT0_Pin|DAT1_Pin|DAT2_Pin|DAT3_Pin
                          |DAT4_Pin|DAT5_Pin|DAT6_Pin|DAT7_Pin;
  GPIO_InitStruct.Mode = GPIO_MODE_OUTPUT_PP;
  GPIO_InitStruct.Pull = GPIO_PULLUP;
  GPIO_InitStruct.Speed = GPIO_SPEED_FREQ_VERY_HIGH;
  HAL_GPIO_Init(GPIOD, &GPIO_InitStruct);

}

void _Error_Handler(char *file, int line)
{
  while(1)
  {
  }
}

/************************ (C) COPYRIGHT STMicroelectronics *****END OF FILE****/
